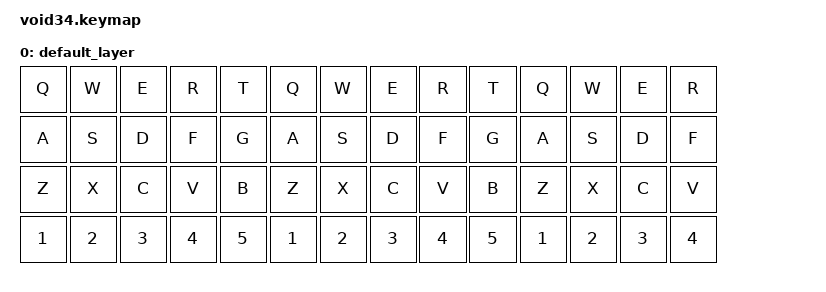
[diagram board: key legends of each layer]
/*
 * Copyright (c) 2020 The ZMK Contributors
 *
 * SPDX-License-Identifier: MIT
 */

#include <behaviors.dtsi>
#include <dt-bindings/zmk/keys.h>
#include <dt-bindings/zmk/bt.h>

#include <dt-bindings/zmk/ext_power.h>

#define _ &kp
#define ___ &none
#define ______ &trans

/ {
        keymap {
                compatible = "zmk,keymap";

                default_layer {
                        bindings = <
_ Q  _ W  _ E  _ R  _ T  _ Q  _ W  _ E  _ R  _ T  _ Q  _ W  _ E  _ R
_ A  _ S  _ D  _ F  _ G  _ A  _ S  _ D  _ F  _ G  _ A  _ S  _ D  _ F
_ Z  _ X  _ C  _ V  _ B  _ Z  _ X  _ C  _ V  _ B  _ Z  _ X  _ C  _ V
_ N1 _ N2 _ N3 _ N4 _ N5 _ N1 _ N2 _ N3 _ N4 _ N5 _ N1 _ N2 _ N3 _ N4
                        >;
                };
        };
};
